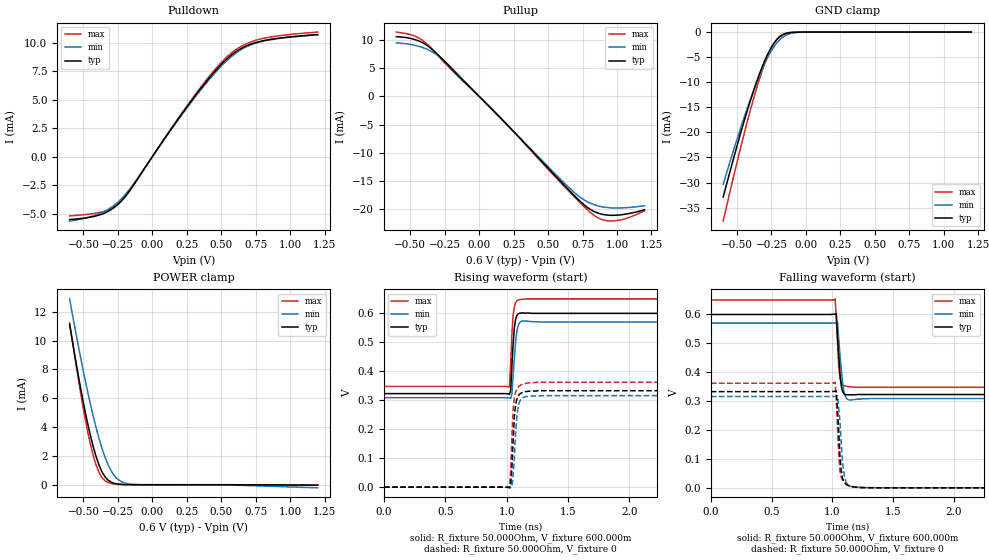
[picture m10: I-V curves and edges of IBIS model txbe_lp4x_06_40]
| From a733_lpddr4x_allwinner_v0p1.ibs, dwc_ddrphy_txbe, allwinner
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[Model] txbe_lp4x_06_40
Model_type   I/O
Polarity   Non-Inverting
Enable   Active-High
C_comp   1.523pF   1.517pF   1.525pF
C_comp_pullup   285.300fF   279.338fF   289.304fF
C_comp_pulldown 1.173pF   1.169pF   1.174pF
Vinh = 420.000mV
Vinl = 300.000mV
Vmeas = 360.000mV
Vref = 360.000mV
Rref = 50Ohms
Cref = 0pF
[Model Spec]
Vinh   420.000mV   402.000mV   450.000mV
Vinl   300.000mV   282.000mV   330.000mV
Vmeas   360.000mV   342.000mV   390.000mV
Vref   360.000mV   342.000mV   390.000mV
D_overshoot_ampl_h 0.1 NA   NA
D_overshoot_ampl_l 0.1 NA   NA
D_overshoot_area_l 300.000m NA   NA
D_overshoot_area_h 300.000m NA   NA
[Receiver Thresholds]
Vth = 180.000mV
Vth_min = 171.000mV
Vth_max = 195.000mV
Vinh_ac = 60.000mV
Vinh_dc = 60.000mV
Vinl_ac = -60.000mV
Vinl_dc = -60.000mV
Tslew_ac = 5.000ns
Threshold_sensitivity = 0.5
Reference_supply Pullup_ref
[Temperature Range]   25.000   125.000   -40.000
[Voltage Range]   600.000mV   570.000mV   650.000mV
[GND Clamp Reference]   0.00V   0.00V   0.00V
[C Comp Corner]
| variable   typ   min   max
C_comp 1.523pF   1.525pF   1.517pF
C_comp_pullup 285.300fF   289.304fF   279.338fF
C_comp_pulldown 1.174pF   1.169pF   1.173pF
[Pulldown Reference]   0.00V   0.00V   0.00V
[POWER Clamp Reference]   600.000mV   570.000mV   650.000mV
[Pullup Reference]   600.000mV   570.000mV   650.000mV
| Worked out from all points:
|   slope of the pulldown table from 0 to 0.09 V, typ, clamps not added: 55.8 ohm
|   slope of the pullup table from 0 to 0.09 V, typ, clamps not added: 40.9 ohm
|   GND clamp passes 1 mA (typ) near -0.19 V on its own axis
|   POWER clamp passes 1 mA (typ) near -0.37 V on its own axis
|   rising waveform, R_fixture 50.000Ohm, V_fixture 600.000m: 20-80 % time 23.8ps typ, 28.8ps min, 21.8ps max; typ from 0.323 V to 0.6 V
|   rising waveform, R_fixture 50.000Ohm, V_fixture 0: 20-80 % time 25.8ps typ, 29.3ps min, 24ps max; typ from 0 V to 0.333 V
|   falling waveform, R_fixture 50.000Ohm, V_fixture 600.000m: 20-80 % time 27.1ps typ, 33.3ps min, 23.6ps max; typ from 0.6 V to 0.323 V
|   falling waveform, R_fixture 50.000Ohm, V_fixture 0: 20-80 % time 28.7ps typ, 34ps min, 25.7ps max; typ from 0.333 V to 0 V
[GND Clamp]
-600mV    -32.9mA    -30.34mA   -37.67mA
-520mV    -24.72mA   -23.14mA   -28.26mA
-450mV    -17.94mA   -17.17mA   -20.47mA
-390mV    -12.57mA   -12.43mA   -14.28mA
-350mV    -9.322mA   -9.536mA   -10.51mA
-300mV    -5.776mA   -6.325mA   -6.387mA
-260mV    -3.48mA    -4.17mA    -3.72mA
-230mV    -2.148mA   -2.848mA   -2.186mA
-190mV    -944.8uA   -1.525mA   -846.8uA
-130mV    -181.2uA   -442.4uA   -112.9uA
-40mV     -5.84uA    -25.59uA   -2.009uA
1.2V      1.334uA    15.69uA    382.2nA
[Power Clamp]
-600mV    11.13mA    12.9mA     11.21mA
-540mV    7.742mA    9.795mA    7.545mA
-490mV    5.209mA    7.393mA    4.724mA
-450mV    3.451mA    5.628mA    2.843mA
-410mV    2.018mA    4.041mA    1.424mA
-370mV    991.9uA    2.677mA    564.3uA
-340mV    511.3uA    1.836mA    253.5uA
-300mV    184.6uA    990.3uA    91.06uA
-250mV    47.48uA    374.4uA    29.24uA
-190mV    8.503uA    91.82uA    6.144uA
-120mV    854.3nA    14.26uA    451.4nA
1.2V      -28.33uA   -215.9uA   -5.856uA
[Pulldown]
-600mV    -5.52mA    -5.65mA    -5.2mA
-370mV    -5.07mA    -4.93mA    -4.86mA
-300mV    -4.659mA   -4.473mA   -4.57mA
-230mV    -3.955mA   -3.769mA   -3.969mA
-150mV    -2.722mA   -2.623mA   -2.764mA
130mV     2.315mA    2.268mA    2.352mA
330mV     5.654mA    5.543mA    5.763mA
480mV     7.848mA    7.697mA    8.012mA
600mV     9.174mA    9.048mA    9.353mA
700mV     9.829mA    9.755mA    10.02mA
810mV     10.2mA     10.17mA    10.41mA
1.2V      10.73mA    10.71mA    10.95mA
[Pullup]
-600mV    10.57mA    9.46mA     11.39mA
-430mV    9.731mA    8.808mA    10.23mA
-360mV    8.71mA     8.13mA     8.862mA
-280mV    6.911mA    6.85mA     6.736mA
160mV     -3.94mA    -3.982mA   -3.9mA
650mV     -16.55mA   -16.09mA   -16.76mA
750mV     -18.95mA   -18.13mA   -19.25mA
830mV     -20.33mA   -19.13mA   -20.99mA
900mV     -20.91mA   -19.58mA   -21.87mA
970mV     -21.06mA   -19.75mA   -22.05mA
1.07V     -20.81mA   -19.69mA   -21.58mA
1.2V      -20.08mA   -19.36mA   -20.25mA
[Ramp]
R_load=50.000Ohm
dV/dt_r   182.983mV/24.500ps  172.956mV/29.000ps  199.197mV/23.000ps
dV/dt_f   182.982mV/28.000ps  172.956mV/35.000ps  199.196mV/24.500ps
[Rising waveform]
R_fixture=50.000Ohm
V_fixture=600.000m
V_fixture_min=570.000m
V_fixture_max=650.000m
0s        323mV      309mV      348mV
1.023ns   320mV      308mV      345mV
1.033ns   334mV      306mV      429mV
1.043ns   418mV      321mV      527mV
1.053ns   493mV      386mV      594mV
1.063ns   550mV      441mV      623mV
1.083ns   592mV      536mV      643mV
1.103ns   600mV      566mV      647mV
1.123ns   601mV      573mV      649mV
10ns      600mV      570mV      650mV
[Rising waveform]
R_fixture=50.000Ohm
V_fixture=0
0s        57.39uV    478.8uV    11.58uV
1.023ns   -2.312mV   -341.8uV   -2.33mV
1.033ns   3.567mV    -1.936mV   54.73mV
1.043ns   64.77mV    3.383mV    175mV
1.053ns   160mV      37.07mV    267mV
1.063ns   242mV      101mV      308mV
1.083ns   304mV      242mV      338mV
1.103ns   320mV      292mV      349mV
1.193ns   332mV      314mV      361mV
10ns      333mV      316mV      362mV
[Falling waveform]
R_fixture=50.000Ohm
V_fixture=600.000m
V_fixture_min=570.000m
V_fixture_max=650.000m
0s        600mV      570mV      650mV
1.023ns   602mV      570mV      654mV
1.033ns   602mV      572mV      584mV
1.043ns   520mV      572mV      502mV
1.053ns   460mV      514mV      420mV
1.063ns   395mV      460mV      379mV
1.083ns   335mV      369mV      357mV
1.103ns   323mV      322mV      353mV
1.153ns   322mV      304mV      349mV
10ns      323mV      309mV      348mV
[Falling waveform]
R_fixture=50.000Ohm
V_fixture=0
0s        333mV      316mV      362mV
1.023ns   335mV      316mV      366mV
1.033ns   335mV      318mV      304mV
1.043ns   267mV      318mV      207mV
1.053ns   194mV      272mV      107mV
1.073ns   60.45mV    157mV      38.01mV
1.093ns   22.58mV    57.7mV     21.81mV
1.113ns   12.2mV     20.88mV    13.92mV
1.203ns   1.915mV    1.89mV     1.955mV
10ns      61.32uV    479.9uV    13.57uV
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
